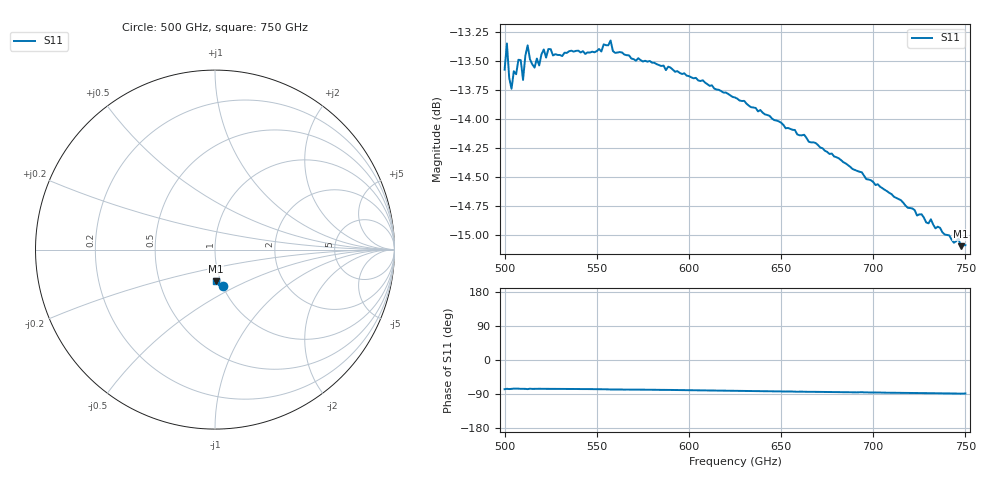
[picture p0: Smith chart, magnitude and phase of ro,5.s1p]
!Created with mwavepy.
# GHz S RI R 50.0
!freq	ReS11	ImS11
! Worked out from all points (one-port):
!   201 points, 500 GHz to 750 GHz, reference 50 ohm
!   lowest |S11| = -15.1 dB at 747.5 GHz (marker M1), VSWR 1.43, Z = 47.4 - j17.2 ohm
!   |S11| at or under -10 dB: start of sweep to end of sweep
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500  0.0471 -0.2041
! Port Impedance 50.00000000000000 0.00000000000000
501.25  0.0522 -0.2085
502.5  0.0476 -0.2022
503.75  0.0492 -0.1996
505  0.0523 -0.2025
506.25  0.0519 -0.202
507.5  0.0524 -0.2049
508.75  0.0508 -0.2053
510  0.0496 -0.2013
511.25  0.0508 -0.2062
512.5  0.0487 -0.209
513.75  0.0526 -0.205
516.25  0.0503 -0.2038
521.25  0.0513 -0.2075
522.5  0.0509 -0.2058
523.75  0.0517 -0.2075
531.25  0.0501 -0.2063
552.5  0.0483 -0.2077
557.5  0.0452 -0.2108
558.75  0.0449 -0.2086
562.5  0.0451 -0.2083
593.75  0.0388 -0.2055
625  0.0312 -0.2014
656.25  0.0229 -0.196
687.5  0.016 -0.1896
718.75  0.0105 -0.1824
747.5  0.00392 -0.1758
750  0.00471 -0.1759
